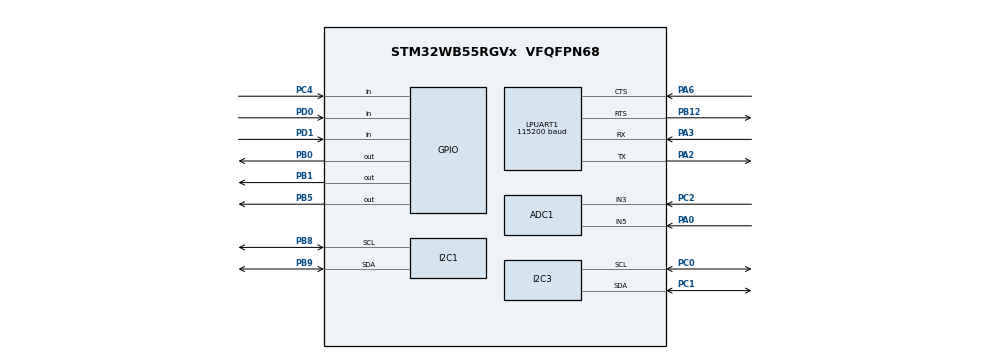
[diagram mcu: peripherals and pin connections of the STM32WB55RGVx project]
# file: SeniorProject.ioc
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ADC1.Channel-3\#ChannelRegularConversion=ADC_CHANNEL_5
ADC1.ClockPrescaler=ADC_CLOCK_ASYNC_DIV4
ADC1.ContinuousConvMode=ENABLE
ADC1.NbrOfConversionFlag=1
ADC1.OffsetNumber-3\#ChannelRegularConversion=ADC_OFFSET_NONE
ADC1.OversamplingMode=DISABLE
ADC1.Rank-3\#ChannelRegularConversion=1
ADC1.SamplingTime-3\#ChannelRegularConversion=ADC_SAMPLETIME_2CYCLES_5
ADC1.master=1
I2C1.Timing=0x00B07CB4
I2C3.Timing=0x00B07CB4
LPUART1.BaudRate=115200
Mcu.Family=STM32WB
Mcu.Name=STM32WB55RGVx
Mcu.Package=VFQFPN68
NUCLEO-WB55RG.BUTTON=1
NUCLEO-WB55RG.BUTTON2=1
NUCLEO-WB55RG.BUTTON3=1
NUCLEO-WB55RG.LD1=true
NUCLEO-WB55RG.LD2=true
NUCLEO-WB55RG.LD3=true
NUCLEO-WB55RG.VCP=true
NVIC.ADC1_IRQn=true\:0\:0\:false\:false\:true\:true\:true\:true
NVIC.PriorityGroup=NVIC_PRIORITYGROUP_4
OSC_IN.GPIO_Label=RCC_OSC_IN
OSC_IN.Signal=RCC_OSC_IN
OSC_OUT.GPIO_Label=RCC_OSC_OUT
OSC_OUT.Signal=RCC_OSC_OUT
PA0.Signal=ADCx_IN5
PA11.GPIO_Label=USB_DM
PA11.Signal=USB_DM
PA12.GPIO_Label=USB_DP
PA12.Signal=USB_DP
PA13.GPIO_Label=JTMS
PA13.Mode=Trace_Asynchronous_SW
PA13.Signal=SYS_JTMS-SWDIO
PA14.GPIO_Label=JTCK
PA14.Mode=Trace_Asynchronous_SW
PA14.Signal=SYS_JTCK-SWCLK
PA2.Mode=Asynchronous
PA2.Signal=LPUART1_TX
PA3.Mode=Asynchronous
PA3.Signal=LPUART1_RX
PA6.Mode=CTS_RTS
PA6.Signal=LPUART1_CTS
PB0.Signal=GPIO_Output
PB1.Signal=GPIO_Output
PB12.Mode=CTS_RTS
PB12.Signal=LPUART1_RTS
PB3.GPIO_Label=JTDO
PB3.Mode=Trace_Asynchronous_SW
PB3.Signal=SYS_JTDO-SWO
PB5.Signal=GPIO_Output
PB6.Signal=USART1_TX
PB7.Signal=USART1_RX
PB8.Mode=I2C
PB8.Signal=I2C1_SCL
PB9.Mode=I2C
PB9.Signal=I2C1_SDA
PC0.GPIO_Speed=GPIO_SPEED_FREQ_HIGH
PC0.Mode=I2C
PC0.Signal=I2C3_SCL
PC1.GPIO_Speed=GPIO_SPEED_FREQ_HIGH
PC1.Mode=I2C
PC1.Signal=I2C3_SDA
PC13.GPIO_Label=SYS_WKUP2
PC13.Signal=SYS_WKUP2
PC14-OSC32_IN.GPIO_Label=RCC_OSC32_IN
PC14-OSC32_IN.Signal=RCC_OSC32_IN
PC15-OSC32_OUT.GPIO_Label=RCC_OSC32_OUT
PC15-OSC32_OUT.Signal=RCC_OSC32_OUT
PC2.Signal=ADCx_IN3
PC4.Signal=GPIO_Input
PD0.Signal=GPIO_Input
PD1.Signal=GPIO_Input
ProjectManager.HeapSize=0x200
ProjectManager.StackSize=0x400
ProjectManager.TargetToolchain=STM32CubeIDE
RCC.ADCCLockSelection=RCC_ADCCLKSOURCE_SYSCLK
RCC.ADCFreq_Value=32000000
RCC.AHBFreq_Value=32000000
RCC.APB1Freq_Value=32000000
RCC.APB1TimFreq_Value=32000000
RCC.APB2Freq_Value=32000000
RCC.APB2TimFreq_Value=32000000
RCC.APB3Freq_Value=16000000
RCC.CortexFreq_Value=32000000
RCC.HCLKFreq_Value=32000000
RCC.HSE_VALUE=32000000
RCC.HSI48_VALUE=48000000
RCC.HSI_VALUE=16000000
RCC.LSE_VALUE=32768
RCC.MSIClockRange=RCC_MSIRANGE_10
RCC.SMPSCLockSelection=RCC_SMPSCLKSOURCE_HSI
RCC.SMPSCLockSelectionVirtual=RCC_SMPSCLKSOURCE_HSI
RCC.SMPSCLockSelectionVirtualVirtual=RCC_SMPSCLKSOURCE_HSI
RCC.SMPSDivider=1
RCC.SYSCLKFreq_VALUE=32000000
RCC.USBFreq_Value=128000000
RCC.VCOOutputFreq_Value=256000000
SH.ADCx_IN3.0=ADC1_IN3,IN3-Single-Ended
SH.ADCx_IN5.0=ADC1_IN5,IN5-Single-Ended
VP_MEMORYMAP_VS_MEMORYMAP.Mode=CurAppReg
VP_NUCLEO-WB55RG_VS_BSP_COMMON.Mode=COMMON
board=NUCLEO-WB55RG

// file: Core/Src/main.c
/* USER CODE BEGIN Header */
/**
  ******************************************************************************
  * @file           : main.c
  * @brief          : Main program body
  ******************************************************************************
  * @attention
  *
  * Copyright (c) 2025 STMicroelectronics.
  * All rights reserved.
  *
  * This software is licensed under terms that can be found in the LICENSE file
  * in the root directory of this software component.
  * If no LICENSE file comes with this software, it is provided AS-IS.
  *
  ******************************************************************************
  */
/* USER CODE END Header */
#include "main.h"

/* USER CODE BEGIN Includes */
#include "gsr.h"
#include "tmp.h"
#include "imu.h"
/* USER CODE END Includes */

COM_InitTypeDef BspCOMInit;
ADC_HandleTypeDef hadc1;

I2C_HandleTypeDef hi2c1;
I2C_HandleTypeDef hi2c3;

UART_HandleTypeDef hlpuart1;

void SystemClock_Config(void);
void PeriphCommonClock_Config(void);
static void MX_GPIO_Init(void);
static void MX_I2C3_Init(void);
static void MX_LPUART1_UART_Init(void);
static void MX_ADC1_Init(void);
static void MX_I2C1_Init(void);

/* USER CODE BEGIN 0 */

/* Helper to read any single channel on ADC1 */
//	uint32_t read_adc1_channel(uint32_t channel) {
//	  ADC_ChannelConfTypeDef sConfig = {0};
//	  sConfig.Channel      = channel;
//	  sConfig.Rank         = ADC_REGULAR_RANK_1;
//	  sConfig.SamplingTime = ADC_SAMPLETIME_2CYCLES_5;
//	  sConfig.SingleDiff   = ADC_SINGLE_ENDED;
//	  sConfig.OffsetNumber = ADC_OFFSET_NONE;
//	  sConfig.Offset       = 0;
//
//	  if (HAL_ADC_ConfigChannel(&hadc1, &sConfig) != HAL_OK) {
//		Error_Handler();
//	  }
//
//	  HAL_ADC_Start(&hadc1);
//	  if (HAL_ADC_PollForConversion(&hadc1, 10) == HAL_OK) {
//		uint32_t val = HAL_ADC_GetValue(&hadc1);
//		HAL_ADC_Stop(&hadc1);
//		return val;
//	  }
//	  HAL_ADC_Stop(&hadc1);
//	  return 0;  // conversion failed
//	}

/* USER CODE END 0 */

int main(void)
{

  /* MCU Configuration--------------------------------------------------------*/

  /* Reset of all peripherals, Initializes the Flash interface and the Systick. */
  HAL_Init();

  /* Configure the system clock */
  SystemClock_Config();

  /* Configure the peripherals common clocks */
  PeriphCommonClock_Config();

  /* Initialize all configured peripherals */
  MX_GPIO_Init();
  MX_I2C3_Init();
  MX_LPUART1_UART_Init();
  MX_ADC1_Init();
  MX_I2C1_Init();

  /* Initialize leds */
  BSP_LED_Init(LED_BLUE);
  BSP_LED_Init(LED_GREEN);
  BSP_LED_Init(LED_RED);

  /* Initialize USER push-button, will be used to trigger an interrupt each time it's pressed.*/
  BSP_PB_Init(BUTTON_SW1, BUTTON_MODE_EXTI);
  BSP_PB_Init(BUTTON_SW2, BUTTON_MODE_EXTI);
  BSP_PB_Init(BUTTON_SW3, BUTTON_MODE_EXTI);

  /* Initialize COM1 port (115200, 8 bits (7-bit data + 1 stop bit), no parity */
  BspCOMInit.BaudRate   = 115200;
  BspCOMInit.WordLength = COM_WORDLENGTH_8B;
  BspCOMInit.StopBits   = COM_STOPBITS_1;
  BspCOMInit.Parity     = COM_PARITY_NONE;
  BspCOMInit.HwFlowCtl  = COM_HWCONTROL_NONE;
  if (BSP_COM_Init(COM1, &BspCOMInit) != BSP_ERROR_NONE)
  {
    Error_Handler();
  }

  /* Infinite loop */
  /* USER CODE BEGIN WHILE */
  while (1)
  {

//---------------------------------- IMU CALIBRATION (uncomment below to turn on calibration for IMU)--------------------

//	  if (BNO055_Init() != 0) {
//	    printf("IMU init failed!\r\n");
//	    Error_Handler();
//	  }
//	  // 2) Calibrate: this will print status each second until all = 3
//	  if (BNO055_CalibrateIMU() != 0) {
//	    printf("IMU calibration failed!\r\n");
//	    Error_Handler();
//	  }

//-----------------------------------------------------------------------------------------------------------------------

	  printf("Time_ms,TempC,TempF,ADC,Voltage_V,Res_Ohm,Heading_deg,Roll_deg,Pitch_deg,AccX_g,AccY_g,AccZ_g,PPG\r\n");

	    uint32_t start = HAL_GetTick();
	    while ((HAL_GetTick() - start) < 30000) //check if 30s has passed
	    {
	      uint32_t ts = HAL_GetTick();

	      // temperature
	      float tempC = read_temperature();
	      float tempF = (tempC > -100.0f)
	                    ? (tempC * 9.0f / 5.0f + 32.0f)
	                    : -9999.0f;

	      // GSR

//		  uint32_t adcRaw5   = read_adc1_channel(ADC_CHANNEL_5); //raw adc values for debugging
//		  float    volt5     = ((float)adcRaw5 / ADC_RESOLUTION) * ADC_VREF;	//raw adc values for debugging

	      uint32_t adcRaw = read_adc_value_avg(ADC_CHANNEL_5,5);
	      float adcVoltage     = ((float)adcRaw / ADC_RESOLUTION) * ADC_VREF;
	      float humanResistance = calculate_human_resistance(adcRaw, SERIAL_CALIBRATION);

	      // IMU Euler angles (uncomment and add to the csv row using the same notation)

//	      int16_t hdg, roll, pitch;
//	      float h=0, r=0, p=0;
//	      if (BNO055_GetEuler(&hdg, &roll, &pitch) == 0)
//	      {
//	        h = hdg / 16.0f;
//	        r = roll / 16.0f;
//	        p = pitch / 16.0f;
//	      }
//
//	      // IMU acceleration
//	      int16_t ax, ay, az;
//	      float gx=0, gy=0, gz=0;
//	      if (BNO055_GetAccel(&ax, &ay, &az) == 0)
//	      {
//	        gx = ax / 1000.0f;
//	        gy = ay / 1000.0f;
//	        gz = az / 1000.0f;
//	      }

	      //PPG
	      uint32_t adcRaw3   = read_adc1_channel(ADC_CHANNEL_3);
		  float    volt3     = ((float)adcRaw3 / ADC_RESOLUTION) * ADC_VREF;

	      // one CSV row
	      printf("%lu,%.3f,%.3f,%lu,%.3f,%.3f,%.3f\r\n",
	             ts,
	             tempC,
	             tempF,
	             adcRaw,
	             adcVoltage,
	             humanResistance,volt3);

	      HAL_Delay(10);
	    }

	    printf("=== 30 s log complete ===\r\n");

    /* USER CODE END WHILE */

  }
}

void SystemClock_Config(void)
{
  RCC_OscInitTypeDef RCC_OscInitStruct = {0};
  RCC_ClkInitTypeDef RCC_ClkInitStruct = {0};

  /** Configure the main internal regulator output voltage
  */
  __HAL_PWR_VOLTAGESCALING_CONFIG(PWR_REGULATOR_VOLTAGE_SCALE1);

  /** Initializes the RCC Oscillators according to the specified parameters
  * in the RCC_OscInitTypeDef structure.
  */
  RCC_OscInitStruct.OscillatorType = RCC_OSCILLATORTYPE_HSI|RCC_OSCILLATORTYPE_MSI;
  RCC_OscInitStruct.HSIState = RCC_HSI_ON;
  RCC_OscInitStruct.MSIState = RCC_MSI_ON;
  RCC_OscInitStruct.HSICalibrationValue = RCC_HSICALIBRATION_DEFAULT;
  RCC_OscInitStruct.MSICalibrationValue = RCC_MSICALIBRATION_DEFAULT;
  RCC_OscInitStruct.MSIClockRange = RCC_MSIRANGE_10;
  RCC_OscInitStruct.PLL.PLLState = RCC_PLL_NONE;
  if (HAL_RCC_OscConfig(&RCC_OscInitStruct) != HAL_OK)
  {
    Error_Handler();
  }

  /** Configure the SYSCLKSource, HCLK, PCLK1 and PCLK2 clocks dividers
  */
  RCC_ClkInitStruct.ClockType = RCC_CLOCKTYPE_HCLK4|RCC_CLOCKTYPE_HCLK2
                              |RCC_CLOCKTYPE_HCLK|RCC_CLOCKTYPE_SYSCLK
                              |RCC_CLOCKTYPE_PCLK1|RCC_CLOCKTYPE_PCLK2;
  RCC_ClkInitStruct.SYSCLKSource = RCC_SYSCLKSOURCE_MSI;
  RCC_ClkInitStruct.AHBCLKDivider = RCC_SYSCLK_DIV1;
  RCC_ClkInitStruct.APB1CLKDivider = RCC_HCLK_DIV1;
  RCC_ClkInitStruct.APB2CLKDivider = RCC_HCLK_DIV1;
  RCC_ClkInitStruct.AHBCLK2Divider = RCC_SYSCLK_DIV1;
  RCC_ClkInitStruct.AHBCLK4Divider = RCC_SYSCLK_DIV1;

  if (HAL_RCC_ClockConfig(&RCC_ClkInitStruct, FLASH_LATENCY_1) != HAL_OK)
  {
    Error_Handler();
  }
}

void PeriphCommonClock_Config(void)
{
  RCC_PeriphCLKInitTypeDef PeriphClkInitStruct = {0};

  /** Initializes the peripherals clock
  */
  PeriphClkInitStruct.PeriphClockSelection = RCC_PERIPHCLK_SMPS;
  PeriphClkInitStruct.SmpsClockSelection = RCC_SMPSCLKSOURCE_HSI;
  PeriphClkInitStruct.SmpsDivSelection = RCC_SMPSCLKDIV_RANGE0;

  if (HAL_RCCEx_PeriphCLKConfig(&PeriphClkInitStruct) != HAL_OK)
  {
    Error_Handler();
  }
}

static void MX_ADC1_Init(void)
{

  ADC_ChannelConfTypeDef sConfig = {0};

  /** Common config
  */
  hadc1.Instance = ADC1;
  hadc1.Init.ClockPrescaler = ADC_CLOCK_ASYNC_DIV4;
  hadc1.Init.Resolution = ADC_RESOLUTION_12B;
  hadc1.Init.DataAlign = ADC_DATAALIGN_RIGHT;
  hadc1.Init.ScanConvMode = ADC_SCAN_DISABLE;
  hadc1.Init.EOCSelection = ADC_EOC_SINGLE_CONV;
  hadc1.Init.LowPowerAutoWait = DISABLE;
  hadc1.Init.ContinuousConvMode = ENABLE;
  hadc1.Init.NbrOfConversion = 1;
  hadc1.Init.DiscontinuousConvMode = DISABLE;
  hadc1.Init.ExternalTrigConv = ADC_SOFTWARE_START;
  hadc1.Init.ExternalTrigConvEdge = ADC_EXTERNALTRIGCONVEDGE_NONE;
  hadc1.Init.DMAContinuousRequests = DISABLE;
  hadc1.Init.Overrun = ADC_OVR_DATA_PRESERVED;
  hadc1.Init.OversamplingMode = DISABLE;
  if (HAL_ADC_Init(&hadc1) != HAL_OK)
  {
    Error_Handler();
  }

  /** Configure Regular Channel*/
  sConfig.Channel = ADC_CHANNEL_5;
  sConfig.Rank = ADC_REGULAR_RANK_1;
  sConfig.SamplingTime = ADC_SAMPLETIME_2CYCLES_5;
  sConfig.SingleDiff = ADC_SINGLE_ENDED;
  sConfig.OffsetNumber = ADC_OFFSET_NONE;
  sConfig.Offset = 0;
  if (HAL_ADC_ConfigChannel(&hadc1, &sConfig) != HAL_OK)
  {
    Error_Handler();
  }

}

static void MX_I2C1_Init(void)
{

  hi2c1.Instance = I2C1;
  hi2c1.Init.Timing = 0x00B07CB4;
  hi2c1.Init.OwnAddress1 = 0;
  hi2c1.Init.AddressingMode = I2C_ADDRESSINGMODE_7BIT;
  hi2c1.Init.DualAddressMode = I2C_DUALADDRESS_DISABLE;
  hi2c1.Init.OwnAddress2 = 0;
  hi2c1.Init.OwnAddress2Masks = I2C_OA2_NOMASK;
  hi2c1.Init.GeneralCallMode = I2C_GENERALCALL_DISABLE;
  hi2c1.Init.NoStretchMode = I2C_NOSTRETCH_DISABLE;
  if (HAL_I2C_Init(&hi2c1) != HAL_OK)
  {
    Error_Handler();
  }

  /** Configure Analogue filter
  */
  if (HAL_I2CEx_ConfigAnalogFilter(&hi2c1, I2C_ANALOGFILTER_ENABLE) != HAL_OK)
  {
    Error_Handler();
  }

  /** Configure Digital filter
  */
  if (HAL_I2CEx_ConfigDigitalFilter(&hi2c1, 0) != HAL_OK)
  {
    Error_Handler();
  }

}

static void MX_I2C3_Init(void)
{

  hi2c3.Instance = I2C3;
  hi2c3.Init.Timing = 0x00B07CB4;
  hi2c3.Init.OwnAddress1 = 0;
  hi2c3.Init.AddressingMode = I2C_ADDRESSINGMODE_7BIT;
  hi2c3.Init.DualAddressMode = I2C_DUALADDRESS_DISABLE;
  hi2c3.Init.OwnAddress2 = 0;
  hi2c3.Init.OwnAddress2Masks = I2C_OA2_NOMASK;
  hi2c3.Init.GeneralCallMode = I2C_GENERALCALL_DISABLE;
  hi2c3.Init.NoStretchMode = I2C_NOSTRETCH_DISABLE;
  if (HAL_I2C_Init(&hi2c3) != HAL_OK)
  {
    Error_Handler();
  }

  /** Configure Analogue filter
  */
  if (HAL_I2CEx_ConfigAnalogFilter(&hi2c3, I2C_ANALOGFILTER_ENABLE) != HAL_OK)
  {
    Error_Handler();
  }

  /** Configure Digital filter
  */
  if (HAL_I2CEx_ConfigDigitalFilter(&hi2c3, 0) != HAL_OK)
  {
    Error_Handler();
  }

}

static void MX_LPUART1_UART_Init(void)
{

  hlpuart1.Instance = LPUART1;
  hlpuart1.Init.BaudRate = 115200;
  hlpuart1.Init.WordLength = UART_WORDLENGTH_8B;
  hlpuart1.Init.StopBits = UART_STOPBITS_1;
  hlpuart1.Init.Parity = UART_PARITY_NONE;
  hlpuart1.Init.Mode = UART_MODE_TX_RX;
  hlpuart1.Init.HwFlowCtl = UART_HWCONTROL_RTS_CTS;
  hlpuart1.Init.OneBitSampling = UART_ONE_BIT_SAMPLE_DISABLE;
  hlpuart1.Init.ClockPrescaler = UART_PRESCALER_DIV1;
  hlpuart1.AdvancedInit.AdvFeatureInit = UART_ADVFEATURE_NO_INIT;
  hlpuart1.FifoMode = UART_FIFOMODE_DISABLE;
  if (HAL_UART_Init(&hlpuart1) != HAL_OK)
  {
    Error_Handler();
  }
  if (HAL_UARTEx_SetTxFifoThreshold(&hlpuart1, UART_TXFIFO_THRESHOLD_1_8) != HAL_OK)
  {
    Error_Handler();
  }
  if (HAL_UARTEx_SetRxFifoThreshold(&hlpuart1, UART_RXFIFO_THRESHOLD_1_8) != HAL_OK)
  {
    Error_Handler();
  }
  if (HAL_UARTEx_DisableFifoMode(&hlpuart1) != HAL_OK)
  {
    Error_Handler();
  }

}

static void MX_GPIO_Init(void)
{
  GPIO_InitTypeDef GPIO_InitStruct = {0};

  /* GPIO Ports Clock Enable */
  __HAL_RCC_GPIOC_CLK_ENABLE();
  __HAL_RCC_GPIOB_CLK_ENABLE();
  __HAL_RCC_GPIOA_CLK_ENABLE();

  /*Configure GPIO pins : USB_DM_Pin USB_DP_Pin */
  GPIO_InitStruct.Pin = USB_DM_Pin|USB_DP_Pin;
  GPIO_InitStruct.Mode = GPIO_MODE_AF_PP;
  GPIO_InitStruct.Pull = GPIO_NOPULL;
  GPIO_InitStruct.Speed = GPIO_SPEED_FREQ_LOW;
  GPIO_InitStruct.Alternate = GPIO_AF10_USB;
  HAL_GPIO_Init(GPIOA, &GPIO_InitStruct);

  /* USER CODE BEGIN MX_GPIO_Init_2 */
  /* PA3 for ADC1_IN3 */
  GPIO_InitStruct.Pin  = GPIO_PIN_3;
  GPIO_InitStruct.Mode = GPIO_MODE_ANALOG;
  GPIO_InitStruct.Pull = GPIO_NOPULL;
  HAL_GPIO_Init(GPIOA, &GPIO_InitStruct);

  /* USER CODE END MX_GPIO_Init_2 */
}

void Error_Handler(void)
{
  __disable_irq();
  while (1)
  {
  }
}
